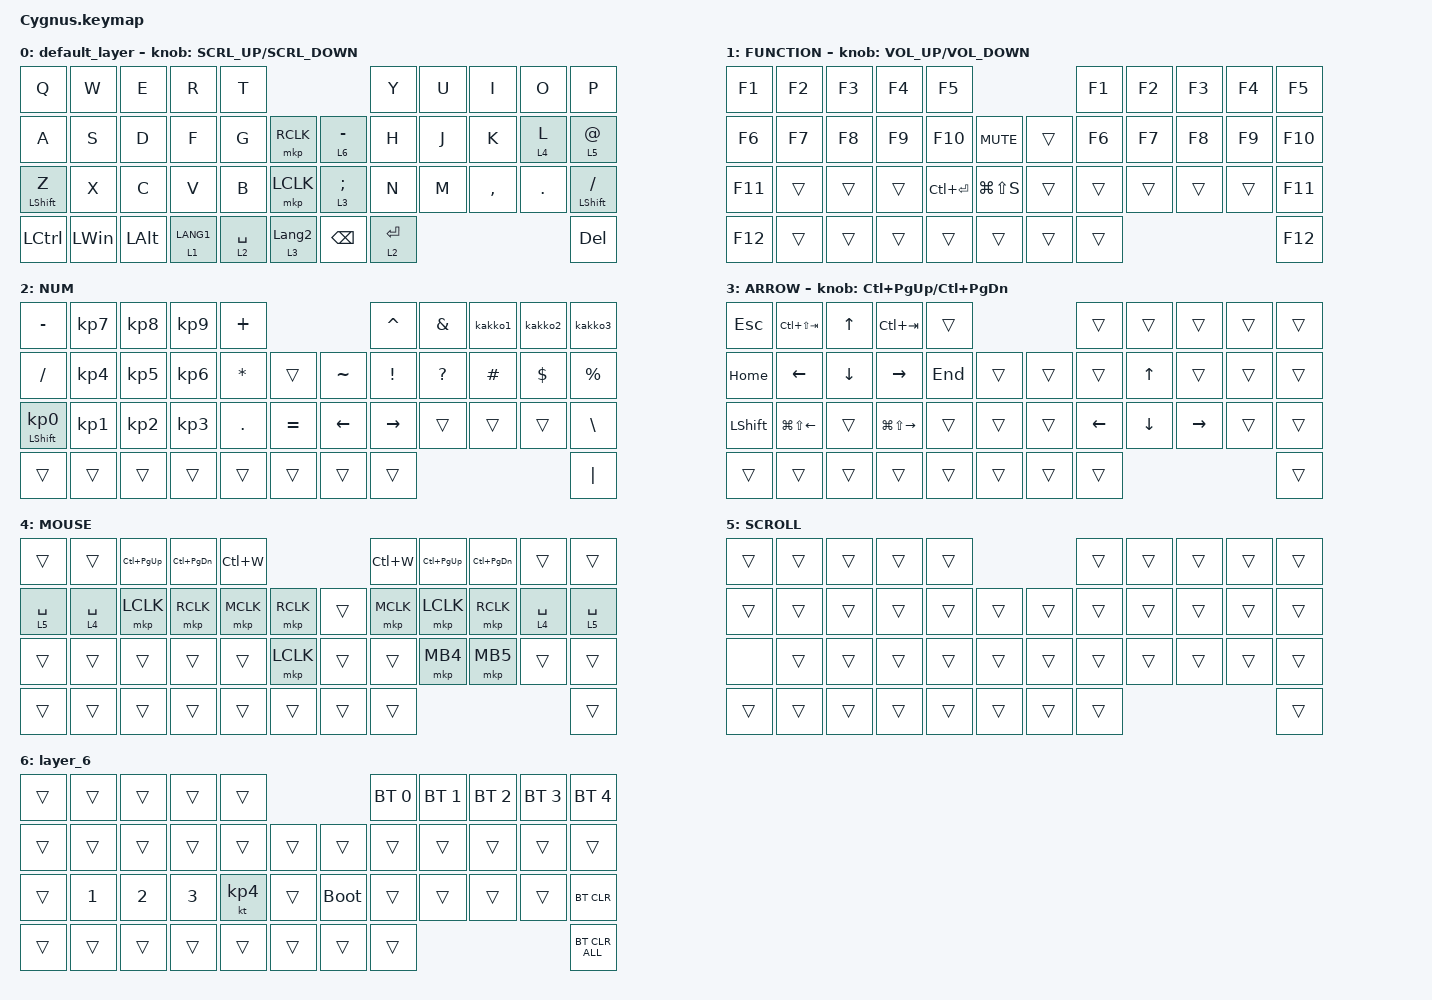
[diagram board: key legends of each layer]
#define ZMK_POINTING_DEFAULT_SCRL_VAL 120    // default: 10

#include <behaviors.dtsi>
#include <dt-bindings/zmk/bt.h>
#include <dt-bindings/zmk/keys.h>
#include <dt-bindings/zmk/pointing.h>

#define MOUSE 4
#define SCROLL 5
#define NUM 6

&mt {
    flavor = "balanced";
    quick-tap-ms = <0>;
};

/ {
    combos {
        compatible = "zmk,combos";

        double_quotation {
            bindings = <&kp DOUBLE_QUOTES>;
            key-positions = <20 21>;
        };

        esc {
            bindings = <&kp ESCAPE>;
            key-positions = <0 2>;
        };

        tab {
            bindings = <&kp TAB>;
            key-positions = <10 12>;
        };

        l {
            bindings = <&mkp LCLK>;
            key-positions = <18 19>;
        };

        r {
            bindings = <&mkp RCLK>;
            key-positions = <19 20>;
        };

        m {
            bindings = <&mkp MCLK>;
            key-positions = <7 18>;
        };
    };

    macros {
        kakko1: kakko1 {
            compatible = "zmk,behavior-macro";
            #binding-cells = <0>;
            bindings = <&kp LEFT_PARENTHESIS &kp RIGHT_PARENTHESIS>;
            label = "KAKKO1";
        };

        kakko2: kakko2 {
            compatible = "zmk,behavior-macro";
            #binding-cells = <0>;
            bindings = <&kp LEFT_BRACKET &kp RIGHT_BRACKET>;
            label = "KAKKO2";
        };

        kakko3: kakko3 {
            compatible = "zmk,behavior-macro";
            #binding-cells = <0>;
            bindings = <&kp LEFT_BRACE &kp RIGHT_BRACE>;
            label = "KAKKO3";
        };
    };

    behaviors {
        lt_to_layer_0: lt_to_layer_0 {
            compatible = "zmk,behavior-hold-tap";
            label = "LAYER_TAP_TO_0";
            bindings = <&mo>, <&to>;

            #binding-cells = <2>;
            tapping-term-ms = <200>;
        };

        ROTATE: ROTATE {
            compatible = "zmk,behavior-sensor-rotate-var";
            label = "ROTATE";
            #sensor-binding-cells = <2>;
            bindings = <&msc>, <&msc>;

            tap-ms = <20>;
        };
    };

    keymap {
        compatible = "zmk,keymap";

        default_layer {
            bindings = <
&kp Q             &kp W         &kp E         &kp R        &kp T                                               &kp Y        &kp U  &kp I      &kp O    &kp P
&kp A             &kp S         &kp D         &kp F        &kp G        &mkp RCLK             &lt 6 MINUS      &kp H        &kp J  &kp K      &lt 4 L  &lt 5 AT_SIGN
&mt LEFT_SHIFT Z  &kp X         &kp C         &kp V        &kp B        &mkp LCLK             &lt 3 SEMICOLON  &kp N        &kp M  &kp COMMA  &kp DOT  &mt LEFT_SHIFT SLASH
&kp LCTRL         &kp LEFT_WIN  &kp LEFT_ALT  &lt 1 LANG1  &lt 2 SPACE  &lt 3 LANGUAGE_2      &kp BACKSPACE    &lt 2 ENTER                             &kp DEL
            >;

            sensor-bindings = <&ROTATE SCRL_UP SCRL_DOWN>;
        };

        FUNCTION {
            bindings = <
&kp F1   &kp F2  &kp F3  &kp F4  &kp F5                                    &kp F1  &kp F2  &kp F3  &kp F4  &kp F5
&kp F6   &kp F7  &kp F8  &kp F9  &kp F10        &kp K_MUTE         &trans  &kp F6  &kp F7  &kp F8  &kp F9  &kp F10
&kp F11  &trans  &trans  &trans  &kp LC(ENTER)  &kp LG(LS(S))      &trans  &trans  &trans  &trans  &trans  &kp F11
&kp F12  &trans  &trans  &trans  &trans         &trans             &trans  &trans                          &kp F12
            >;

            sensor-bindings = <&inc_dec_kp C_VOL_UP C_VOLUME_DOWN>;
        };

        NUM {
            bindings = <
&kp MINUS                   &kp KP_NUMBER_7  &kp KP_NUMBER_8  &kp KP_NUMBER_9  &kp PLUS                                &kp CARET        &kp AMPERSAND  &kakko1   &kakko2     &kakko3
&kp SLASH                   &kp KP_NUMBER_4  &kp KP_NUMBER_5  &kp KP_NUMBER_6  &kp ASTERISK  &trans         &kp TILDE  &kp EXCLAMATION  &kp QUESTION   &kp HASH  &kp DOLLAR  &kp PERCENT
&mt LEFT_SHIFT KP_NUMBER_0  &kp KP_NUMBER_1  &kp KP_NUMBER_2  &kp KP_NUMBER_3  &kp PERIOD    &kp EQUAL      &kp LEFT   &kp RIGHT        &trans         &trans    &trans      &kp BACKSLASH
&trans                      &trans           &trans           &trans           &trans        &trans         &trans     &trans                                                &kp PIPE
            >;
        };

        ARROW {
            bindings = <
&kp ESCAPE      &kp LC(LS(TAB))         &kp UP_ARROW    &kp LC(TAB)              &trans                       &trans    &trans          &trans     &trans  &trans
&kp HOME        &kp LEFT_ARROW          &kp DOWN_ARROW  &kp RIGHT_ARROW          &kp END  &trans      &trans  &trans    &kp UP_ARROW    &trans     &trans  &trans
&kp LEFT_SHIFT  &kp LG(LS(LEFT_ARROW))  &trans          &kp LG(LS(RIGHT_ARROW))  &trans   &trans      &trans  &kp LEFT  &kp DOWN_ARROW  &kp RIGHT  &trans  &trans
&trans          &trans                  &trans          &trans                   &trans   &trans      &trans  &trans                                       &trans
            >;

            sensor-bindings = <&inc_dec_kp LC(PAGE_UP) LC(PAGE_DOWN)>;
        };

        MOUSE {
            bindings = <
&trans       &trans       &kp LC(PAGE_UP)  &kp LC(PAGE_DOWN)  &kp LC(W)                         &kp LC(W)  &kp LC(PAGE_UP)  &kp LC(PAGE_DOWN)  &trans       &trans
&lt 5 SPACE  &lt 4 SPACE  &mkp LCLK        &mkp RCLK          &mkp MCLK  &mkp RCLK      &trans  &mkp MCLK  &mkp LCLK        &mkp RCLK          &lt 4 SPACE  &lt 5 SPACE
&trans       &trans       &trans           &trans             &trans     &mkp LCLK      &trans  &trans     &mkp MB4         &mkp MB5           &trans       &trans
&trans       &trans       &trans           &trans             &trans     &trans         &trans  &trans                                                      &trans
            >;
        };

        SCROLL {
            bindings = <
&trans  &trans  &trans  &trans  &trans                      &trans  &trans  &trans  &trans  &trans
&trans  &trans  &trans  &trans  &trans  &trans      &trans  &trans  &trans  &trans  &trans  &trans
&none   &trans  &trans  &trans  &trans  &trans      &trans  &trans  &trans  &trans  &trans  &trans
&trans  &trans  &trans  &trans  &trans  &trans      &trans  &trans                          &trans
            >;
        };

        layer_6 {
            bindings = <
&trans  &trans        &trans        &trans        &trans                              &bt BT_SEL 0  &bt BT_SEL 1  &bt BT_SEL 2  &bt BT_SEL 3  &bt BT_SEL 4
&trans  &trans        &trans        &trans        &trans     &trans      &trans       &trans        &trans        &trans        &trans        &trans
&trans  &kp NUMBER_1  &kp NUMBER_2  &kp NUMBER_3  &kt KP_N4  &trans      &bootloader  &trans        &trans        &trans        &trans        &bt BT_CLR
&trans  &trans        &trans        &trans        &trans     &trans      &trans       &trans                                                  &bt BT_CLR_ALL
            >;
        };
    };
};
